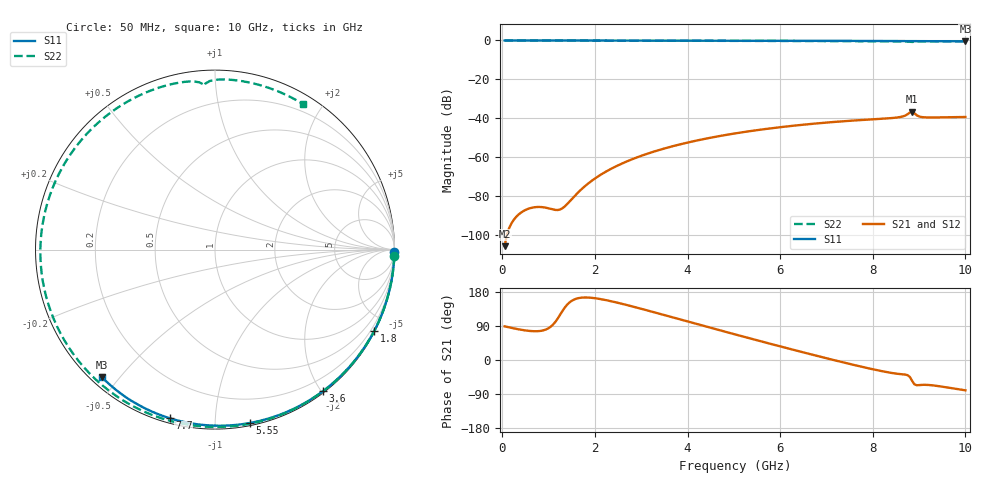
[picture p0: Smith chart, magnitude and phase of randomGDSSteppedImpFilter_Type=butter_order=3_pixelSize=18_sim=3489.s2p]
! freq	dB(S11)	phase(S11)	dB(S12)	phase(S12)
!  dB(S21)	phase(S21)	dB(S22)	phase(S22)
!S-par simulation data
#  GHz  S  DB  R 50
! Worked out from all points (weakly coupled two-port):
!   200 points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, 50 MHz to 10 GHz, reference 50 ohm
!   highest |S21| = -36.64 dB at 8.85 GHz (marker M1); lowest = -105.8 dB at 50 MHz (marker M2)
!   lowest |S11| = -0.4 dB at 10 GHz (marker M3), VSWR 39.08, Z = 1.54 - j22.5 ohm
!   |S11| at or under -10 dB: nowhere
!   |S22| runs from -0.8 to 0.0 dB; largest |S21 - S12| = 0
!   S11 on the Smith chart (normalised r, x): 50 MHz: open; 1.8 GHz: 0.04, -4.17; 3.6 GHz: 0.02, -2.02; 5.55 GHz: 0.02, -1.22; 7.7 GHz: 0.02, -0.77; 10 GHz: 0.03, -0.45
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0.05  -0.00 -0.8  -105.82 88.9  -105.82 88.9  -0.00 -2.0
0.75  -0.01 -11.3  -85.67 75.9  -85.67 75.9  -0.04 -29.6
1.55  -0.03 -23.3  -80.32 159.5  -80.32 159.5  -0.07 -59.6
1.75  -0.03 -26.2  -75.67 164.9  -75.67 164.9  -0.08 -66.7
1.8  -0.03 -26.9  -74.64 165.0  -74.64 165.0  -0.08 -68.5
2.1  -0.04 -31.3  -69.45 161.2  -69.45 161.2  -0.09 -78.8
2.45  -0.05 -36.4  -64.81 152.3  -64.81 152.3  -0.10 -90.4
2.9  -0.06 -42.8  -60.22 138.4  -60.22 138.4  -0.12 -104.7
3.4  -0.07 -49.9  -56.26 121.9  -56.26 121.9  -0.14 -119.6
3.6  -0.07 -52.7  -54.91 115.2  -54.91 115.2  -0.14 -125.4
4.35  -0.09 -62.9  -50.73 90.0  -50.73 90.0  -0.17 -146.2
5.05  -0.11 -72.2  -47.73 66.8  -47.73 66.8  -0.21 -164.7
5.55  -0.13 -78.7  -45.98 50.4  -45.98 50.4  -0.23 -177.6
6.1  -0.15 -85.7  -44.35 32.8  -44.35 32.8  -0.26 168.3
6.7  -0.18 -93.1  -42.87 13.9  -42.87 13.9  -0.30 152.7
7.7  -0.24 -105.1  -41.01 -16.1  -41.01 -16.1  -0.36 126.0
8.35  -0.29 -112.7  -40.03 -33.0  -40.03 -33.0  -0.41 107.6
8.65  -0.31 -116.1  -39.07 -37.8  -39.07 -37.8  -0.47 98.6
8.85  -0.33 -118.4  -36.64 -55.1  -36.64 -55.1  -0.77 93.8
9  -0.34 -120.1  -39.09 -66.2  -39.09 -66.2  -0.49 90.1
9.1  -0.35 -121.3  -39.52 -65.4  -39.52 -65.4  -0.45 86.8
10  -0.44 -131.4  -39.37 -80.1  -39.37 -80.1  -0.47 58.9
